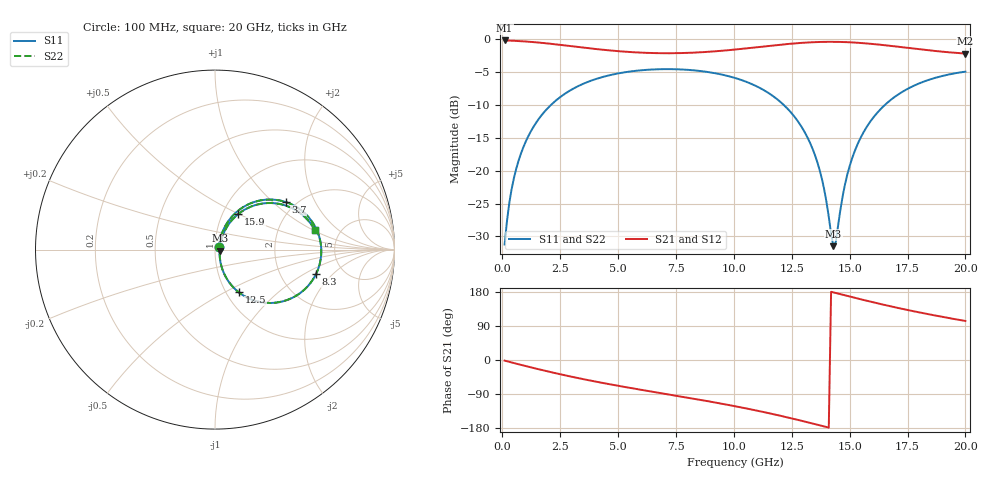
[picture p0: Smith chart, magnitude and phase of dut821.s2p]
! Touchstone file exported from HFSS 2026.1.0
!  File:  C:/ffzhzh/LocalFiles/Ansys_Project_Files/temp_train_TSV_RDL_821_1783265565_39728.aedt
!  Generated:  11:44:11 PM Jul  5, 2026
!  Design:  TSV_RDL
!  Project:  temp_train_TSV_RDL_821_1783265565_39728
! Variables:
!  h_bsmrdl = 3.51um
!  h_ox = 20um
!  h_rdl = 5um
!  h_sub = 80.88um
!  h_tmrdl = 3.05um
!  h_tsv = 80.88um
!  h_via = 3um
!  l_bsmrdl = 618.8um
!  l_sub = 4266.97um
!  l_tmrdl = 468.99um
!  m_sub = 200um
!  pitch = 56.93um
!  r_tsv = 8.2um
!  s_tmrdl = 10um
!  w_bsmrdl = 15.6um
!  w_sub = 500um
!  w_tmrdl = 29.27um
!  x_tsv_center1 = 483.625um
!  x_tsv_center2 = 1118.025um
!  x_tsv_center3 = 1616.285um
!  x_tsv_center4 = 2250.685um
!  x_tsv_center5 = 2748.945um
!  x_tsv_center6 = 3383.345um
# GHz S MA R 50.000000
! Terminal data exported
! Port[1] = TM_RDL1_1_T1
! Port[2] = TM_RDL5_1_T1
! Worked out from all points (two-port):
!   200 points, 100 MHz to 20 GHz, reference 50 ohm
!   highest |S21| = -0.19 dB at 100 MHz (marker M1); lowest = -2.2 dB at 20 GHz (marker M2)
!   |S21| within 3 dB of the highest: start of sweep to end of sweep
!   lowest |S11| = -31.5 dB at 14.3 GHz (marker M3), VSWR 1.05, Z = 52.7 - j0.614 ohm
!   |S11| at or under -10 dB: start of sweep to 2.101 GHz; 12.16 GHz to 16.52 GHz (4.366 GHz wide, 30.4 % of centre)
!   |S22| runs from -31.4 to -4.5 dB; largest |S21 - S12| = 2.7e-14
!   S11 on the Smith chart (normalised r, x): 100 MHz: 1.04, +0.04; 3.7 GHz: 1.77, +1.21; 8.3 GHz: 3.18, -1.30; 12.5 GHz: 1.15, -0.59; 15.9 GHz: 1.19, +0.50; 20 GHz: 3.25, +1.04
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0.1  0.02741 38.5  0.9789 -1.7  0.9789 -1.7  0.02741 38.5
! Gamma 0 0 0 0
! Port Impedance 50 0 50 0
0.3  0.05631 61.7  0.9763 -4.9  0.9763 -4.9  0.0563 61.7
0.5  0.08747 66.4  0.9729 -8.0  0.9729 -8.0  0.08746 66.4
1.1  0.1794 64.6  0.9589 -17.3  0.9589 -17.3  0.1794 64.6
2.1  0.3161 53.3  0.9232 -32.0  0.9232 -32.0  0.3161 53.3
3.5  0.4585 36.4  0.8637 -50.6  0.8637 -50.6  0.4585 36.4
3.7  0.4741 34.1  0.8556 -53.0  0.8556 -53.0  0.4741 34.1
6.8  0.5915 1.4  0.7832 -87.0  0.7832 -87.0  0.5915 1.4
8.3  0.5794 -13.5  0.7914 -102.5  0.7914 -102.5  0.5794 -13.5
10.1  0.5044 -32.5  0.8365 -122.5  0.8365 -122.5  0.5044 -32.5
11.5  0.3896 -48.8  0.8892 -140.2  0.8892 -140.2  0.3896 -48.8
12.5  0.273 -60.8  0.9258 -154.2  0.9258 -154.2  0.273 -60.8
13.4  0.1467 -69.2  0.9489 -167.6  0.9489 -167.6  0.1467 -69.1
13.9  0.07232 -65.7  0.955 -175.4  0.955 -175.4  0.07234 -65.6
14.3  0.02664 -12.6  0.9557 178.4  0.9557 178.4  0.02676 -12.5
14.4  0.02863 18.8  0.9553 176.9  0.9553 176.9  0.02875 18.7
14.7  0.06413 56.7  0.9527 172.2  0.9527 172.2  0.0642 56.6
15  0.1082 62.3  0.9481 167.6  0.9481 167.6  0.1082 62.2
15.9  0.2372 56.8  0.9237 154.0  0.9237 154.0  0.2373 56.7
16.7  0.337 47.6  0.8932 142.6  0.8932 142.6  0.3371 47.6
18.2  0.4759 30.1  0.832 123.3  0.832 123.3  0.4759 30.1
20  0.5666 11.1  0.7783 103.0  0.7783 103.0  0.5667 11.1
